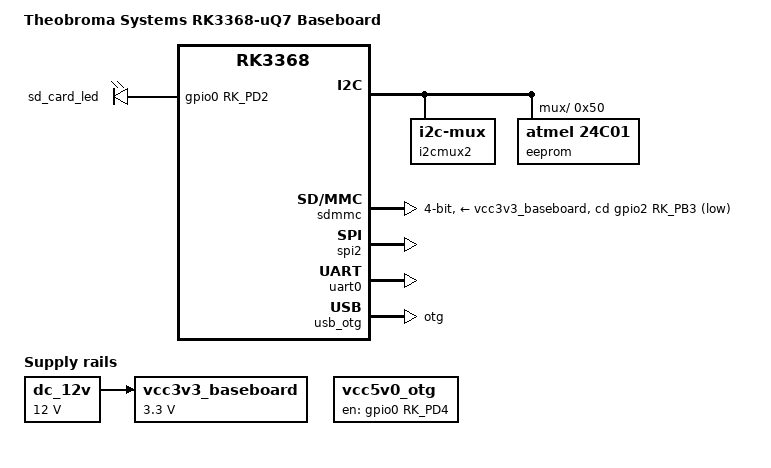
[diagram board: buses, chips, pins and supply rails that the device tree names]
// SPDX-License-Identifier: (GPL-2.0+ OR MIT)
/*
 * Copyright (c) 2018 Theobroma Systems Design und Consulting GmbH
 */

/dts-v1/;
#include "rk3368-lion.dtsi"

/ {
	model = "Theobroma Systems RK3368-uQ7 Baseboard";
	compatible = "tsd,rk3368-lion-haikou", "rockchip,rk3368";

	chosen {
		stdout-path = "serial0:115200n8";
	};

	i2cmux2 {
		i2c@0 {
			eeprom: eeprom@50 {
				compatible = "atmel,24c01";
				pagesize = <8>;
				reg = <0x50>;
			};
		};
	};

	leds {
		pinctrl-0 = <&led_pins_module>, <&led_sd_haikou>;

		sd-card-led {
			label = "sd_card_led";
			gpios = <&gpio0 RK_PD2 GPIO_ACTIVE_HIGH>;
			linux,default-trigger = "mmc0";
		};
	};

	dc_12v: dc-12v {
		compatible = "regulator-fixed";
		regulator-name = "dc_12v";
		regulator-always-on;
		regulator-boot-on;
		regulator-min-microvolt = <12000000>;
		regulator-max-microvolt = <12000000>;
	};

	vcc3v3_baseboard: vcc3v3-baseboard {
		compatible = "regulator-fixed";
		regulator-name = "vcc3v3_baseboard";
		regulator-always-on;
		regulator-boot-on;
		regulator-min-microvolt = <3300000>;
		regulator-max-microvolt = <3300000>;
		vin-supply = <&dc_12v>;
	};

	vcc5v0_otg: vcc5v0-otg-regulator {
		compatible = "regulator-fixed";
		enable-active-high;
		gpio = <&gpio0 RK_PD4 GPIO_ACTIVE_HIGH>;
		pinctrl-names = "default";
		pinctrl-0 = <&otg_vbus_drv>;
		regulator-name = "vcc5v0_otg";
		regulator-always-on;
	};
};

&sdmmc {
	bus-width = <4>;
	cap-mmc-highspeed;
	cap-sd-highspeed;
	cd-gpios = <&gpio2 RK_PB3 GPIO_ACTIVE_LOW>;
	disable-wp;
	max-frequency = <25000000>;
	pinctrl-names = "default";
	pinctrl-0 = <&sdmmc_clk &sdmmc_cmd &sdmmc_bus4>;
	rockchip,default-sample-phase = <90>;
	vmmc-supply = <&vcc3v3_baseboard>;
	status = "okay";
};

&spi2 {
	cs-gpios = <0>, <&gpio2 RK_PC3 GPIO_ACTIVE_LOW>;
	status = "okay";
};

&uart0 {
	pinctrl-names = "default";
	pinctrl-0 = <&uart0_xfer &uart0_cts &uart0_rts>;
	status = "okay";
};

&usb_otg {
	dr_mode = "otg";
	status = "okay";
};

&uart0 {
	pinctrl-names = "default";
	pinctrl-0 = <&uart0_xfer &uart0_cts &uart0_rts>;
	status = "okay";
};

&uart1 {
	/* alternate function of GPIO5/6 */
	status = "disabled";
};

&pinctrl {
	pinctrl-names = "default";
	pinctrl-0 = <&haikou_pin_hog>;

	hog {
		haikou_pin_hog: haikou-pin-hog {
			rockchip,pins =
				/* LID_BTN */
				<RK_GPIO3 RK_PA6 RK_FUNC_GPIO &pcfg_pull_up>,
				/* BATLOW# */
				<RK_GPIO0 RK_PD6 RK_FUNC_GPIO &pcfg_pull_up>,
				/* SLP_BTN# */
				<RK_GPIO3 RK_PA2 RK_FUNC_GPIO &pcfg_pull_up>,
				/* BIOS_DISABLE# */
				<RK_GPIO3 RK_PA0 RK_FUNC_GPIO &pcfg_pull_up>;
		};
	};

	leds {
		led_sd_haikou: led-sd-gpio {
			rockchip,pins =
				<RK_GPIO0 RK_PD2 RK_FUNC_GPIO &pcfg_pull_none>;
		};
	};

	sdmmc {
		sdmmc_cd_gpio: sdmmc-cd-gpio {
			rockchip,pins =
				<RK_GPIO2 RK_PB3 RK_FUNC_GPIO &pcfg_pull_none>;
		};
	};

	usb_otg {
		otg_vbus_drv: otg-vbus-drv {
			rockchip,pins =
				<RK_GPIO0 RK_PD4 RK_FUNC_GPIO &pcfg_pull_none>;
		};
	};
};
